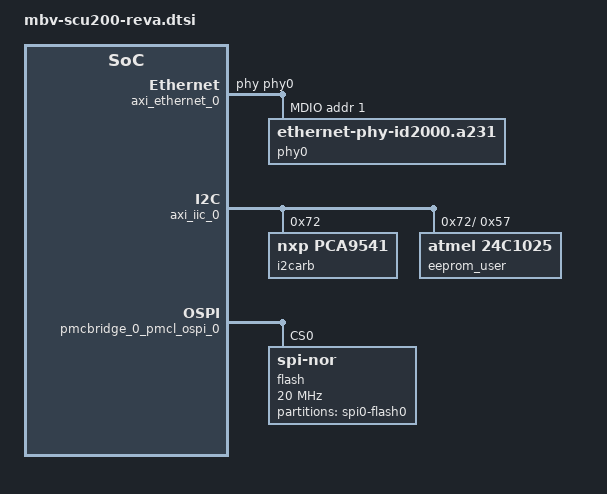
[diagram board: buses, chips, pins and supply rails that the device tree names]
// SPDX-License-Identifier: GPL-2.0
/*
 * dts file for AMD SCU200 revA
 *
 * (C) Copyright 2025-2026, Advanced Micro Devices, Inc.
 *
 * Michal Simek <michal.simek@amd.com>
 */


&{/} {
	model = "MB-V SCU200 revA";
	compatible = "amd,mbv-scu200-revA", "amd,mbv-scu200", "amd,mbv";
};

&axi_ethernet_0 {
	phy-handle = <&phy0>;

	mdio {
		#address-cells = <1>;
		#size-cells = <0>;

		phy0: ethernet-phy@1 { /* u42 - DP83867 */
			#phy-cells = <1>;
			compatible = "ethernet-phy-id2000.a231";
			reg = <1>;
			ti,dp83867-rxctrl-strap-quirk;
			/* reset-gpios = <&gpio 77 GPIO_ACTIVE_LOW>; TBD */
			reset-assert-us = <2500>;
			reset-deassert-us = <500>;
		};
	};
};

&axi_iic_0 {
	#address-cells = <1>;
	#size-cells = <0>;

	i2carb: i2c-arbitrator@72 { /* u75 */
		compatible = "nxp,pca9541";
		reg = <0x72>;

		i2carb1: i2c-arb {
			#address-cells = <1>;
			#size-cells = <0>;

			eeprom_user: eeprom@57 { /* also at address 0x5f - 1024Kbit */
				bootph-all;
				compatible = "atmel,24c1025"; /* st 24FC1025T */
				reg = <0x57>;
			};
		};
	};
};

&pmcbridge_0_pmcl_ospi_0 {
	#address-cells = <1>;
	#size-cells = <0>;
	clocks = <&clk_cpu_0>;
	cdns,fifo-depth = <256>;
        cdns,fifo-width = <4>;
        #address-cells = <1>;
        #size-cells = <0>;

	flash@0 {
		bootph-all;
		compatible = "jedec,spi-nor"; /* mt35xu01g */
		reg = <0>;
		#address-cells = <1>;
		#size-cells = <1>;
		cdns,read-delay = <0>;
		cdns,tshsl-ns = <0>;
		cdns,tsd2d-ns = <0>;
		cdns,tchsh-ns = <10>;
		cdns,tslch-ns = <10>;
		spi-tx-bus-width = <8>;
		spi-rx-bus-width = <8>;
		spi-max-frequency = <20000000>;
		no-wp;

		/* reset-gpios = <&gpio 0 GPIO_ACTIVE_LOW>; TBD */
		partition@0 {
			label = "spi0-flash0";
			reg = <0 0x8000000>;
		};
	};
};
